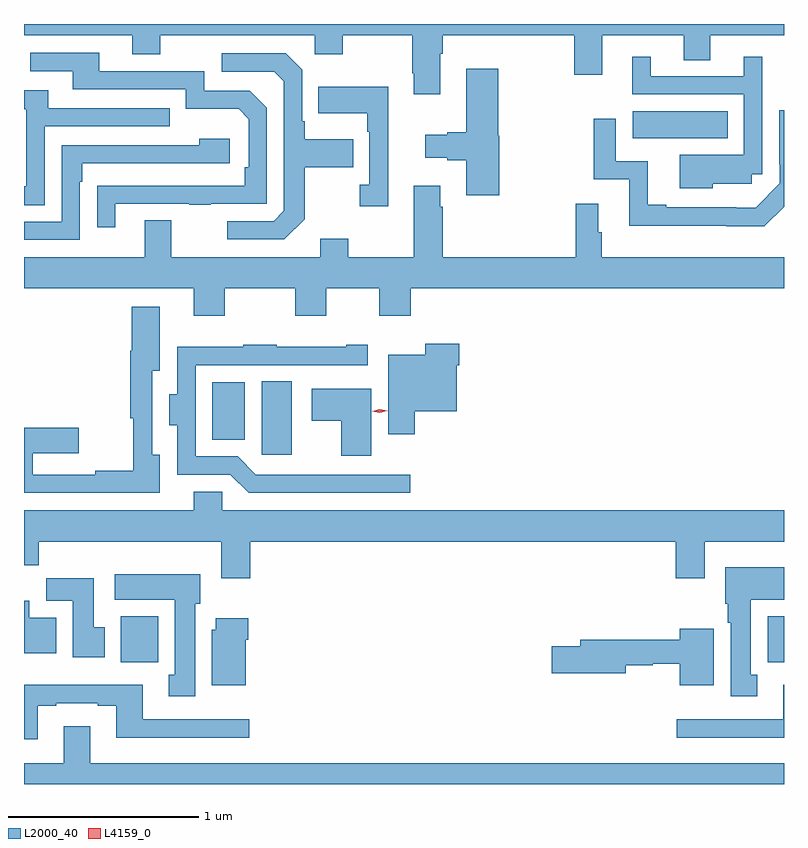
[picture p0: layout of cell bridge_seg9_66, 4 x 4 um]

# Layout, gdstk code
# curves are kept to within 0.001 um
import gdstk
lib = gdstk.Library(unit=1e-6, precision=1e-09)
def R(c, l, rs):  # rectangles x0, y0, x1, y1
    for r in rs: c.add(gdstk.rectangle(r[:2], r[2:], *l))
def P(c, l, *ps):  # polygons
    for p in ps: c.add(gdstk.Polygon(p, *l))
L2000_40 = (2000, 40)
L4159_0 = (4159, 0)

bridge_seg9_66 = lib.new_cell('bridge_seg9_66')
R(bridge_seg9_66, L2000_40, [(1082.369,1181.132,1082.566,1181.374), (1085.774,1181.132,1085.86,1181.374), (1083.11,1182.225,1083.268,1182.611), (1082.852,1182.305,1083.022,1182.607), (1085.064,1183.892,1085.564,1184.032)])
P(bridge_seg9_66, L2000_40, [(1084.051,1184.336),(1084.064,1184.336),(1084.064,1184.432),(1084.756,1184.432),(1084.756,1184.226),(1084.903,1184.226),(1084.903,1184.432),(1085.333,1184.432),(1085.333,1184.302),(1085.473,1184.302),(1085.473,1184.432),(1085.86,1184.432),(1085.86,1184.492),(1081.86,1184.492),(1081.86,1184.432),(1082.429,1184.432),(1082.429,1184.333),(1082.577,1184.333),(1082.577,1184.432),(1083.39,1184.432),(1083.39,1184.333),(1083.537,1184.333),(1083.537,1184.432),(1083.904,1184.432),(1083.904,1184.233),(1083.911,1184.233),(1083.911,1184.121),(1084.051,1184.121)],
  [(1082.341,1183.545),(1082.731,1183.545),(1082.731,1183.54),(1082.843,1183.54),(1082.843,1183.545),(1083.138,1183.545),(1083.138,1184.052),(1083.048,1184.142),(1082.808,1184.142),(1082.808,1184.244),(1082.257,1184.244),(1082.257,1184.34),(1081.893,1184.34),(1081.893,1184.244),(1082.117,1184.244),(1082.117,1184.148),(1082.712,1184.148),(1082.712,1184.045),(1082.989,1184.045),(1083.042,1183.992),(1083.042,1183.738),(1083.022,1183.738),(1083.022,1183.641),(1082.245,1183.64),(1082.245,1183.422),(1082.341,1183.422)],
  [(1083.337,1183.465),(1083.337,1183.738),(1083.593,1183.738),(1083.593,1183.885),(1083.337,1183.885),(1083.337,1183.981),(1083.324,1183.981),(1083.324,1184.25),(1083.237,1184.337),(1082.901,1184.337),(1082.901,1184.241),(1083.177,1184.241),(1083.228,1184.19),(1083.228,1183.509),(1083.174,1183.455),(1082.931,1183.455),(1082.931,1183.359),(1083.231,1183.359)],
  [(1085.484,1183.652),(1085.691,1183.652),(1085.691,1183.701),(1085.745,1183.701),(1085.745,1184.32),(1085.648,1184.32),(1085.648,1184.217),(1085.158,1184.217),(1085.158,1184.32),(1085.06,1184.32),(1085.06,1184.121),(1085.649,1184.121),(1085.649,1183.804),(1085.312,1183.804),(1085.312,1183.628),(1085.484,1183.628)],
  [(1084.36,1183.905),(1084.355,1183.905),(1084.355,1184.257),(1084.187,1184.257),(1084.187,1183.922),(1084.088,1183.922),(1084.088,1183.909),(1083.972,1183.909),(1083.972,1183.787),(1084.088,1183.787),(1084.088,1183.775),(1084.187,1183.775),(1084.187,1183.59),(1084.36,1183.59)],
  [(1083.776,1184.161),(1083.409,1184.161),(1083.409,1184.021),(1083.666,1184.021),(1083.666,1183.925),(1083.678,1183.925),(1083.678,1183.646),(1083.627,1183.646),(1083.627,1183.533),(1083.776,1183.533)],
  [(1081.968,1183.953),(1082.627,1183.953),(1082.627,1184.049),(1081.987,1184.049),(1081.987,1184.143),(1081.86,1184.143),(1081.86,1184.043),(1081.872,1184.043),(1081.872,1183.638),(1081.86,1183.638),(1081.86,1183.537),(1081.968,1183.537)],
  [(1085.86,1183.531),(1085.86,1184.038),(1085.834,1184.038),(1085.834,1183.753),(1085.838,1183.753),(1085.838,1183.653),(1085.71,1183.525),(1085.609,1183.525),(1085.609,1183.527),(1085.239,1183.527),(1085.239,1183.54),(1085.143,1183.54),(1085.143,1183.77),(1084.974,1183.77),(1084.974,1183.993),(1084.858,1183.993),(1084.858,1183.674),(1085.045,1183.674),(1085.045,1183.43),(1085.557,1183.43),(1085.557,1183.428),(1085.756,1183.428)],
  [(1082.154,1183.661),(1082.167,1183.661),(1082.167,1183.758),(1082.944,1183.758),(1082.944,1183.888),(1082.783,1183.888),(1082.783,1183.854),(1082.058,1183.854),(1082.058,1183.452),(1081.86,1183.452),(1081.86,1183.356),(1082.154,1183.356)],
  [(1082.917,1183.1),(1083.287,1183.1),(1083.287,1182.957),(1083.451,1182.957),(1083.451,1183.1),(1083.731,1183.1),(1083.731,1182.957),(1083.895,1182.957),(1083.895,1183.1),(1085.86,1183.1),(1085.86,1183.264),(1084.901,1183.264),(1084.901,1183.397),(1084.882,1183.397),(1084.882,1183.546),(1084.765,1183.546),(1084.765,1183.264),(1084.064,1183.264),(1084.064,1183.529),(1084.051,1183.529),(1084.051,1183.642),(1083.911,1183.642),(1083.911,1183.264),(1083.567,1183.264),(1083.567,1183.363),(1083.419,1183.363),(1083.419,1183.264),(1082.635,1183.264),(1082.635,1183.459),(1082.495,1183.459),(1082.495,1183.264),(1081.86,1183.264),(1081.86,1183.1),(1082.753,1183.1),(1082.753,1182.957),(1082.917,1182.957)],
  [(1082.575,1182.225),(1082.535,1182.225),(1082.535,1182.668),(1082.575,1182.668),(1082.575,1183.003),(1082.426,1183.003),(1082.426,1182.772),(1082.419,1182.772),(1082.419,1182.417),(1082.434,1182.417),(1082.434,1182.14),(1082.236,1182.14),(1082.236,1182.12),(1081.907,1182.12),(1081.907,1182.233),(1082.149,1182.233),(1082.149,1182.368),(1081.86,1182.368),(1081.86,1182.024),(1082.575,1182.024)],
  [(1083.917,1182.455),(1084.138,1182.455),(1084.138,1182.695),(1084.151,1182.695),(1084.151,1182.808),(1083.973,1182.808),(1083.973,1182.751),(1083.776,1182.751),(1083.776,1182.333),(1083.917,1182.333)],
  [(1083.892,1182.12),(1083.081,1182.12),(1082.985,1182.216),(1082.763,1182.216),(1082.763,1182.696),(1083.67,1182.696),(1083.67,1182.805),(1083.557,1182.805),(1083.557,1182.793),(1083.191,1182.793),(1083.191,1182.805),(1083.013,1182.805),(1083.013,1182.793),(1082.667,1182.793),(1082.667,1182.544),(1082.624,1182.544),(1082.624,1182.38),(1082.666,1182.38),(1082.666,1182.12),(1082.946,1182.12),(1083.042,1182.024),(1083.892,1182.024)],
  [(1083.688,1182.571),(1083.375,1182.571),(1083.375,1182.404),(1083.53,1182.404),(1083.53,1182.219),(1083.688,1182.219)],
  [(1083.05,1181.768),(1085.291,1181.768),(1085.291,1181.574),(1085.443,1181.574),(1085.443,1181.768),(1085.86,1181.768),(1085.86,1181.932),(1082.904,1181.932),(1082.904,1182.03),(1082.753,1182.03),(1082.753,1181.932),(1081.86,1181.932),(1081.86,1181.644),(1081.937,1181.644),(1081.937,1181.768),(1082.897,1181.768),(1082.897,1181.574),(1083.05,1181.574)],
  [(1085.719,1181.066),(1085.686,1181.066),(1085.686,1181.462),(1085.86,1181.462),(1085.86,1181.632),(1085.552,1181.632),(1085.552,1181.442),(1085.564,1181.442),(1085.564,1181.342),(1085.579,1181.342),(1085.579,1180.953),(1085.719,1180.953)],
  [(1082.761,1181.442),(1082.788,1181.442),(1082.788,1181.596),(1082.337,1181.596),(1082.337,1181.462),(1082.654,1181.462),(1082.654,1181.066),(1082.621,1181.066),(1082.621,1180.953),(1082.761,1180.953)],
  [(1082.284,1181.316),(1082.227,1181.316),(1082.227,1181.575),(1081.978,1181.575),(1081.978,1181.456),(1082.117,1181.456),(1082.117,1181.16),(1082.284,1181.16)],
  [(1082.029,1181.368),(1081.888,1181.368),(1081.888,1181.456),(1081.86,1181.456),(1081.86,1181.18),(1082.029,1181.18)],
  [(1083.028,1181.252),(1083.041,1181.252),(1083.041,1181.365),(1082.87,1181.365),(1082.87,1181.304),(1082.849,1181.304),(1082.849,1181.012),(1083.028,1181.012)],
  [(1085.491,1181.308),(1085.312,1181.308),(1085.312,1181.252),(1084.787,1181.252),(1084.787,1181.216),(1084.638,1181.216),(1084.638,1181.074),(1085.026,1181.074),(1085.026,1181.116),(1085.169,1181.116),(1085.169,1181.124),(1085.312,1181.124),(1085.312,1181.012),(1085.491,1181.012)],
  [(1081.933,1180.905),(1082.029,1180.905),(1082.029,1180.917),(1082.249,1180.917),(1082.249,1180.905),(1082.345,1180.905),(1082.345,1180.736),(1083.046,1180.736),(1083.046,1180.833),(1082.485,1180.833),(1082.485,1181.014),(1081.86,1181.014),(1081.86,1180.728),(1081.933,1180.728)],
  [(1085.86,1181.014),(1085.855,1181.014),(1085.855,1180.833),(1085.295,1180.833),(1085.295,1180.736),(1085.86,1180.736)],
  [(1085.86,1180.6),(1082.209,1180.6),(1082.209,1180.795),(1082.069,1180.795),(1082.069,1180.6),(1081.86,1180.6),(1081.86,1180.492),(1085.86,1180.492)])
P(bridge_seg9_66, L4159_0, [(1083.732,1182.445),(1083.693,1182.454),(1083.692,1182.455),(1083.693,1182.455),(1083.732,1182.465),(1083.771,1182.456),(1083.771,1182.456),(1083.771,1182.456)])

lib.write_gds('bridge_seg9_66.gds')
